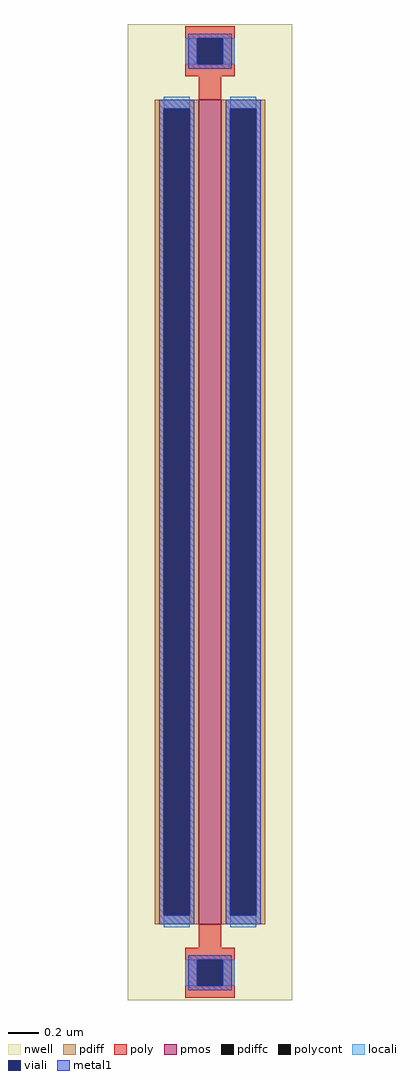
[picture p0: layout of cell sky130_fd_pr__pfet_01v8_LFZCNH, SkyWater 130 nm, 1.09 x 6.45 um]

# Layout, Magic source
magic
tech sky130A
magscale 1 2
<< nwell >>
rect -109 -645 109 645
<< pmos >>
rect -15 -545 15 545
<< pdiff >>
rect -73 533 -15 545
rect -73 -533 -61 533
rect -27 -533 -15 533
rect -73 -545 -15 -533
rect 15 533 73 545
rect 15 -533 27 533
rect 61 -533 73 533
rect 15 -545 73 -533
<< pdiffc >>
rect -61 -533 -27 533
rect 27 -533 61 533
<< poly >>
rect -33 626 33 642
rect -33 592 -17 626
rect 17 592 33 626
rect -33 576 33 592
rect -15 545 15 576
rect -15 -576 15 -545
rect -33 -592 33 -576
rect -33 -626 -17 -592
rect 17 -626 33 -592
rect -33 -642 33 -626
<< polycont >>
rect -17 592 17 626
rect -17 -626 17 -592
<< locali >>
rect -33 592 -17 626
rect 17 592 33 626
rect -61 533 -27 549
rect -61 -549 -27 -533
rect 27 533 61 549
rect 27 -549 61 -533
rect -33 -626 -17 -592
rect 17 -626 33 -592
<< viali >>
rect -17 592 17 626
rect -61 -533 -27 533
rect 27 -533 61 533
rect -17 -626 17 -592
<< metal1 >>
rect -29 626 29 632
rect -29 592 -17 626
rect 17 592 29 626
rect -29 586 29 592
rect -67 533 -21 545
rect -67 -533 -61 533
rect -27 -533 -21 533
rect -67 -545 -21 -533
rect 21 533 67 545
rect 21 -533 27 533
rect 61 -533 67 533
rect 21 -545 67 -533
rect -29 -592 29 -586
rect -29 -626 -17 -592
rect 17 -626 29 -592
rect -29 -632 29 -626
<< properties >>
string gencell sky130_fd_pr__pfet_01v8
string library sky130
string parameters w 5.445 l 0.15 m 1 nf 1 diffcov 100 polycov 100 guard 0 glc 1 grc 1 gtc 1 gbc 1 tbcov 100 rlcov 100 topc 1 botc 1 poverlap 0 doverlap 1 lmin 0.15 wmin 0.42 compatible {sky130_fd_pr__pfet_01v8  sky130_fd_pr__pfet_01v8_lvt sky130_fd_pr__pfet_01v8_hvt  sky130_fd_pr__pfet_g5v0d10v5} full_metal 0 viasrc 100 viadrn 100 viagate 100 viagb 0 viagr 0 viagl 0 viagt 0
<< end >>
